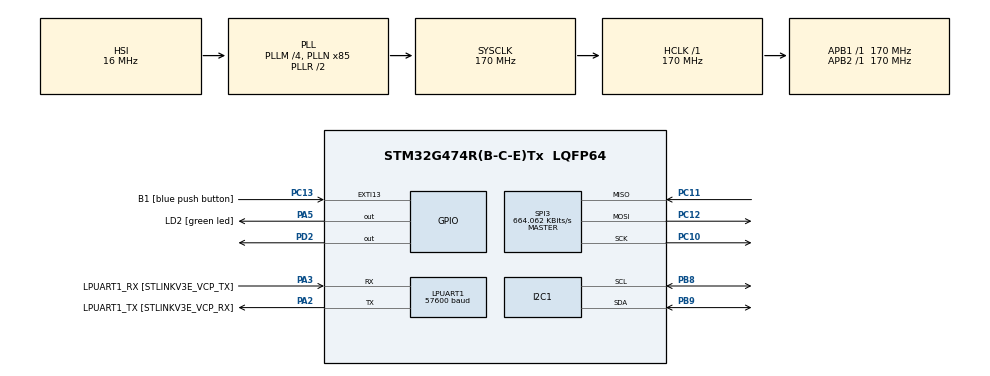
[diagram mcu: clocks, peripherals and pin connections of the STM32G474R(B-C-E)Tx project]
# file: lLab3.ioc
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Dma.I2C1_RX.2.Direction=DMA_PERIPH_TO_MEMORY
Dma.I2C1_RX.2.EventEnable=DISABLE
Dma.I2C1_RX.2.Instance=DMA1_Channel3
Dma.I2C1_RX.2.MemDataAlignment=DMA_MDATAALIGN_BYTE
Dma.I2C1_RX.2.MemInc=DMA_MINC_ENABLE
Dma.I2C1_RX.2.Mode=DMA_NORMAL
Dma.I2C1_RX.2.PeriphDataAlignment=DMA_PDATAALIGN_BYTE
Dma.I2C1_RX.2.PeriphInc=DMA_PINC_DISABLE
Dma.I2C1_RX.2.Polarity=HAL_DMAMUX_REQ_GEN_RISING
Dma.I2C1_RX.2.Priority=DMA_PRIORITY_LOW
Dma.I2C1_RX.2.RequestNumber=1
Dma.I2C1_RX.2.SignalID=NONE
Dma.I2C1_RX.2.SyncEnable=DISABLE
Dma.I2C1_RX.2.SyncPolarity=HAL_DMAMUX_SYNC_NO_EVENT
Dma.I2C1_RX.2.SyncRequestNumber=1
Dma.I2C1_RX.2.SyncSignalID=NONE
Dma.I2C1_TX.3.Direction=DMA_MEMORY_TO_PERIPH
Dma.I2C1_TX.3.EventEnable=DISABLE
Dma.I2C1_TX.3.Instance=DMA1_Channel4
Dma.I2C1_TX.3.MemDataAlignment=DMA_MDATAALIGN_BYTE
Dma.I2C1_TX.3.MemInc=DMA_MINC_ENABLE
Dma.I2C1_TX.3.Mode=DMA_NORMAL
Dma.I2C1_TX.3.PeriphDataAlignment=DMA_PDATAALIGN_BYTE
Dma.I2C1_TX.3.PeriphInc=DMA_PINC_DISABLE
Dma.I2C1_TX.3.Polarity=HAL_DMAMUX_REQ_GEN_RISING
Dma.I2C1_TX.3.Priority=DMA_PRIORITY_LOW
Dma.I2C1_TX.3.RequestNumber=1
Dma.I2C1_TX.3.SignalID=NONE
Dma.I2C1_TX.3.SyncEnable=DISABLE
Dma.I2C1_TX.3.SyncPolarity=HAL_DMAMUX_SYNC_NO_EVENT
Dma.I2C1_TX.3.SyncRequestNumber=1
Dma.I2C1_TX.3.SyncSignalID=NONE
Dma.LPUART1_RX.0.Direction=DMA_PERIPH_TO_MEMORY
Dma.LPUART1_RX.0.EventEnable=DISABLE
Dma.LPUART1_RX.0.Instance=DMA1_Channel1
Dma.LPUART1_RX.0.MemDataAlignment=DMA_MDATAALIGN_BYTE
Dma.LPUART1_RX.0.MemInc=DMA_MINC_ENABLE
Dma.LPUART1_RX.0.Mode=DMA_CIRCULAR
Dma.LPUART1_RX.0.PeriphDataAlignment=DMA_PDATAALIGN_BYTE
Dma.LPUART1_RX.0.PeriphInc=DMA_PINC_DISABLE
Dma.LPUART1_RX.0.Polarity=HAL_DMAMUX_REQ_GEN_RISING
Dma.LPUART1_RX.0.Priority=DMA_PRIORITY_LOW
Dma.LPUART1_RX.0.RequestNumber=1
Dma.LPUART1_RX.0.SignalID=NONE
Dma.LPUART1_RX.0.SyncEnable=DISABLE
Dma.LPUART1_RX.0.SyncPolarity=HAL_DMAMUX_SYNC_NO_EVENT
Dma.LPUART1_RX.0.SyncRequestNumber=1
Dma.LPUART1_RX.0.SyncSignalID=NONE
Dma.LPUART1_TX.1.Direction=DMA_MEMORY_TO_PERIPH
Dma.LPUART1_TX.1.EventEnable=DISABLE
Dma.LPUART1_TX.1.Instance=DMA1_Channel2
Dma.LPUART1_TX.1.MemDataAlignment=DMA_MDATAALIGN_BYTE
Dma.LPUART1_TX.1.MemInc=DMA_MINC_ENABLE
Dma.LPUART1_TX.1.Mode=DMA_NORMAL
Dma.LPUART1_TX.1.PeriphDataAlignment=DMA_PDATAALIGN_BYTE
Dma.LPUART1_TX.1.PeriphInc=DMA_PINC_DISABLE
Dma.LPUART1_TX.1.Polarity=HAL_DMAMUX_REQ_GEN_RISING
Dma.LPUART1_TX.1.Priority=DMA_PRIORITY_LOW
Dma.LPUART1_TX.1.RequestNumber=1
Dma.LPUART1_TX.1.SignalID=NONE
Dma.LPUART1_TX.1.SyncEnable=DISABLE
Dma.LPUART1_TX.1.SyncPolarity=HAL_DMAMUX_SYNC_NO_EVENT
Dma.LPUART1_TX.1.SyncRequestNumber=1
Dma.LPUART1_TX.1.SyncSignalID=NONE
Dma.Request0=LPUART1_RX
Dma.Request1=LPUART1_TX
Dma.Request2=I2C1_RX
Dma.Request3=I2C1_TX
I2C1.Timing=0x30A0A7FB
LPUART1.BaudRate=57600
LPUART1.Parity=UART_PARITY_EVEN
LPUART1.WordLength=UART_WORDLENGTH_9B
Mcu.Family=STM32G4
Mcu.Name=STM32G474R(B-C-E)Tx
Mcu.Package=LQFP64
NVIC.DMA1_Channel1_IRQn=true\:0\:0\:false\:false\:true\:false\:true\:true
NVIC.DMA1_Channel2_IRQn=true\:0\:0\:false\:false\:true\:false\:true\:true
NVIC.DMA1_Channel3_IRQn=true\:0\:0\:false\:false\:true\:false\:true\:true
NVIC.DMA1_Channel4_IRQn=true\:0\:0\:false\:false\:true\:false\:true\:true
NVIC.EXTI15_10_IRQn=true\:0\:0\:false\:false\:true\:true\:true\:true
NVIC.I2C1_ER_IRQn=true\:0\:0\:false\:false\:true\:true\:true\:true
NVIC.I2C1_EV_IRQn=true\:0\:0\:false\:false\:true\:true\:true\:true
NVIC.LPUART1_IRQn=true\:0\:0\:false\:false\:true\:true\:true\:true
NVIC.PriorityGroup=NVIC_PRIORITYGROUP_4
NVIC.SPI3_IRQn=true\:0\:0\:false\:false\:true\:true\:true\:true
PA13.GPIO_Label=T_SWDIO
PA13.Mode=Serial_Wire
PA13.Signal=SYS_JTMS-SWDIO
PA14.GPIO_Label=T_SWCLK
PA14.Mode=Serial_Wire
PA14.Signal=SYS_JTCK-SWCLK
PA2.GPIO_Label=LPUART1_TX [STLINKV3E_VCP_RX]
PA2.Mode=Asynchronous
PA2.Signal=LPUART1_TX
PA3.GPIO_Label=LPUART1_RX [STLINKV3E_VCP_TX]
PA3.Mode=Asynchronous
PA3.Signal=LPUART1_RX
PA5.GPIO_Label=LD2 [green led]
PA5.Signal=GPIO_Output
PB3.GPIO_Label=T_SWO
PB3.Signal=SYS_JTDO-SWO
PB8-BOOT0.Mode=I2C
PB8-BOOT0.Signal=I2C1_SCL
PB9.Mode=I2C
PB9.Signal=I2C1_SDA
PC10.Mode=Full_Duplex_Master
PC10.Signal=SPI3_SCK
PC11.Mode=Full_Duplex_Master
PC11.Signal=SPI3_MISO
PC12.Mode=Full_Duplex_Master
PC12.Signal=SPI3_MOSI
PC13.GPIO_Label=B1 [blue push button]
PC13.Signal=GPXTI13
PC14-OSC32_IN.Mode=LSE-External-Oscillator
PC14-OSC32_IN.Signal=RCC_OSC32_IN
PC15-OSC32_OUT.Mode=LSE-External-Oscillator
PC15-OSC32_OUT.Signal=RCC_OSC32_OUT
PD2.PinState=GPIO_PIN_SET
PD2.Signal=GPIO_Output
PF0-OSC_IN.Mode=HSE-External-Oscillator
PF0-OSC_IN.Signal=RCC_OSC_IN
PF1-OSC_OUT.Mode=HSE-External-Oscillator
PF1-OSC_OUT.Signal=RCC_OSC_OUT
ProjectManager.HeapSize=0x200
ProjectManager.StackSize=0x400
ProjectManager.TargetToolchain=STM32CubeIDE
RCC.ADC12Freq_Value=170000000
RCC.ADC345Freq_Value=170000000
RCC.AHBFreq_Value=170000000
RCC.APB1Freq_Value=170000000
RCC.APB1TimFreq_Value=170000000
RCC.APB2Freq_Value=170000000
RCC.APB2TimFreq_Value=170000000
RCC.CortexFreq_Value=170000000
RCC.EXTERNAL_CLOCK_VALUE=12288000
RCC.HCLKFreq_Value=170000000
RCC.HSE_VALUE=24000000
RCC.HSI48_VALUE=48000000
RCC.HSI_VALUE=16000000
RCC.PLLM=RCC_PLLM_DIV4
RCC.PLLN=85
RCC.RTCClockSelection=RCC_RTCCLKSOURCE_LSE
RCC.SYSCLKFreq_VALUE=170000000
RCC.SYSCLKSource=RCC_SYSCLKSOURCE_PLLCLK
RCC.USBFreq_Value=170000000
RCC.VCOOutputFreq_Value=340000000
SPI3.BaudRatePrescaler=SPI_BAUDRATEPRESCALER_256
SPI3.CalculateBaudRate=664.062 KBits/s
SPI3.DataSize=SPI_DATASIZE_8BIT
SPI3.Direction=SPI_DIRECTION_2LINES
SPI3.Mode=SPI_MODE_MASTER
SPI3.VirtualType=VM_MASTER
VP_SYS_VS_DBSignals.Mode=DisableDeadBatterySignals
board=NUCLEO-G474RE

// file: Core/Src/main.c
/* USER CODE BEGIN Header */
/**
  ******************************************************************************
  * @file           : main.c
  * @brief          : Main program body
  ******************************************************************************
  * @attention
  *
  * Copyright (c) 2025 STMicroelectronics.
  * All rights reserved.
  *
  * This software is licensed under terms that can be found in the LICENSE file
  * in the root directory of this software component.
  * If no LICENSE file comes with this software, it is provided AS-IS.
  *
  ******************************************************************************
  */
/* USER CODE END Header */
#include "main.h"

/* USER CODE BEGIN Includes */
#include "stdio.h"
#include "string.h"
#include <stdbool.h>
/* USER CODE END Includes */

/* USER CODE BEGIN PD */
#define EEPROM_ADDR 0b10100000
/* USER CODE END PD */

I2C_HandleTypeDef hi2c1;
DMA_HandleTypeDef hdma_i2c1_rx;
DMA_HandleTypeDef hdma_i2c1_tx;

UART_HandleTypeDef hlpuart1;
DMA_HandleTypeDef hdma_lpuart1_rx;
DMA_HandleTypeDef hdma_lpuart1_tx;

SPI_HandleTypeDef hspi3;

/* USER CODE BEGIN PV */
uint8_t RxBuffer[50];
uint8_t TxBuffer[50];
uint8_t score = 0;
uint8_t eepromData[1];
uint8_t SPIRx[10];
uint8_t SPITx[10];
uint8_t state = 0;
uint32_t startTime = 0;
uint8_t LED;
/* USER CODE END PV */

void SystemClock_Config(void);
static void MX_GPIO_Init(void);
static void MX_DMA_Init(void);
static void MX_LPUART1_UART_Init(void);
static void MX_I2C1_Init(void);
static void MX_SPI3_Init(void);
/* USER CODE BEGIN PFP */
void UARTConfig();
void WriteScore(uint8_t scorevalue);
uint8_t ReadScore();
void TurnOnLED();
void TurnOffLED();
void LightRandomLED();
bool CheckButtonPress();
/* USER CODE END PFP */

int main(void)
{

  /* MCU Configuration--------------------------------------------------------*/

  /* Reset of all peripherals, Initializes the Flash interface and the Systick. */
  HAL_Init();

  /* Configure the system clock */
  SystemClock_Config();

  /* Initialize all configured peripherals */
  MX_GPIO_Init();
  MX_DMA_Init();
  MX_LPUART1_UART_Init();
  MX_I2C1_Init();
  MX_SPI3_Init();
  /* USER CODE BEGIN 2 */
  uint8_t text[] = "Catch the Light!\r\nPress Button to Start\r\n\0";
  HAL_UART_Transmit(&hlpuart1, text, strlen(text), 10);
  UARTConfig();
  SPITxRx_Setup();
  /* USER CODE END 2 */

  /* Infinite loop */
  while (1)
  {

    /* USER CODE BEGIN 3 */
	  switch(state){
	  case 0:
		  if(HAL_GPIO_ReadPin(B1_GPIO_Port, B1_Pin)){
			  TurnOnLED();
			  uint8_t starttext[] = "Game Started\r\n";
			  HAL_UART_Transmit(&hlpuart1, starttext, strlen(starttext), 10);
			  state = 1;
		  }
			  break;
		  case 1:
			  TurnOffLED();
			  startTime = HAL_GetTick();
			  score = 0;
			  LightRandomLED();
			  state = 2;
			  break;
		  case 2:
			  if ((HAL_GetTick()-startTime) >= 90000){
				  TurnOffLED();
				  WriteScore(score);
				  uint8_t endtext[] = "Game Finished\r\n";
				  HAL_UART_Transmit(&hlpuart1, endtext, strlen(endtext), 10);
				  sprintf((char*)TxBuffer,"Score : %d\r\n",score);
				  HAL_UART_Transmit_DMA(&hlpuart1, TxBuffer, strlen((char*)TxBuffer));
				  state = 0;
			  }
			  else
			  {
				  bool pressed = CheckButtonPress();
				  if(pressed){
					  score++;
					  TurnOffLED();
					  LightRandomLED();
				  }
			  }
			  break;
	  }
  }
  /* USER CODE END 3 */
}

void SystemClock_Config(void)
{
  RCC_OscInitTypeDef RCC_OscInitStruct = {0};
  RCC_ClkInitTypeDef RCC_ClkInitStruct = {0};

  /** Configure the main internal regulator output voltage
  */
  HAL_PWREx_ControlVoltageScaling(PWR_REGULATOR_VOLTAGE_SCALE1_BOOST);

  /** Initializes the RCC Oscillators according to the specified parameters
  * in the RCC_OscInitTypeDef structure.
  */
  RCC_OscInitStruct.OscillatorType = RCC_OSCILLATORTYPE_HSI;
  RCC_OscInitStruct.HSIState = RCC_HSI_ON;
  RCC_OscInitStruct.HSICalibrationValue = RCC_HSICALIBRATION_DEFAULT;
  RCC_OscInitStruct.PLL.PLLState = RCC_PLL_ON;
  RCC_OscInitStruct.PLL.PLLSource = RCC_PLLSOURCE_HSI;
  RCC_OscInitStruct.PLL.PLLM = RCC_PLLM_DIV4;
  RCC_OscInitStruct.PLL.PLLN = 85;
  RCC_OscInitStruct.PLL.PLLP = RCC_PLLP_DIV2;
  RCC_OscInitStruct.PLL.PLLQ = RCC_PLLQ_DIV2;
  RCC_OscInitStruct.PLL.PLLR = RCC_PLLR_DIV2;
  if (HAL_RCC_OscConfig(&RCC_OscInitStruct) != HAL_OK)
  {
    Error_Handler();
  }

  /** Initializes the CPU, AHB and APB buses clocks
  */
  RCC_ClkInitStruct.ClockType = RCC_CLOCKTYPE_HCLK|RCC_CLOCKTYPE_SYSCLK
                              |RCC_CLOCKTYPE_PCLK1|RCC_CLOCKTYPE_PCLK2;
  RCC_ClkInitStruct.SYSCLKSource = RCC_SYSCLKSOURCE_PLLCLK;
  RCC_ClkInitStruct.AHBCLKDivider = RCC_SYSCLK_DIV1;
  RCC_ClkInitStruct.APB1CLKDivider = RCC_HCLK_DIV1;
  RCC_ClkInitStruct.APB2CLKDivider = RCC_HCLK_DIV1;

  if (HAL_RCC_ClockConfig(&RCC_ClkInitStruct, FLASH_LATENCY_4) != HAL_OK)
  {
    Error_Handler();
  }
}

static void MX_I2C1_Init(void)
{

  hi2c1.Instance = I2C1;
  hi2c1.Init.Timing = 0x30A0A7FB;
  hi2c1.Init.OwnAddress1 = 0;
  hi2c1.Init.AddressingMode = I2C_ADDRESSINGMODE_7BIT;
  hi2c1.Init.DualAddressMode = I2C_DUALADDRESS_DISABLE;
  hi2c1.Init.OwnAddress2 = 0;
  hi2c1.Init.OwnAddress2Masks = I2C_OA2_NOMASK;
  hi2c1.Init.GeneralCallMode = I2C_GENERALCALL_DISABLE;
  hi2c1.Init.NoStretchMode = I2C_NOSTRETCH_DISABLE;
  if (HAL_I2C_Init(&hi2c1) != HAL_OK)
  {
    Error_Handler();
  }

  /** Configure Analogue filter
  */
  if (HAL_I2CEx_ConfigAnalogFilter(&hi2c1, I2C_ANALOGFILTER_ENABLE) != HAL_OK)
  {
    Error_Handler();
  }

  /** Configure Digital filter
  */
  if (HAL_I2CEx_ConfigDigitalFilter(&hi2c1, 0) != HAL_OK)
  {
    Error_Handler();
  }

}

static void MX_LPUART1_UART_Init(void)
{

  hlpuart1.Instance = LPUART1;
  hlpuart1.Init.BaudRate = 57600;
  hlpuart1.Init.WordLength = UART_WORDLENGTH_9B;
  hlpuart1.Init.StopBits = UART_STOPBITS_1;
  hlpuart1.Init.Parity = UART_PARITY_EVEN;
  hlpuart1.Init.Mode = UART_MODE_TX_RX;
  hlpuart1.Init.HwFlowCtl = UART_HWCONTROL_NONE;
  hlpuart1.Init.OneBitSampling = UART_ONE_BIT_SAMPLE_DISABLE;
  hlpuart1.Init.ClockPrescaler = UART_PRESCALER_DIV1;
  hlpuart1.AdvancedInit.AdvFeatureInit = UART_ADVFEATURE_NO_INIT;
  if (HAL_UART_Init(&hlpuart1) != HAL_OK)
  {
    Error_Handler();
  }
  if (HAL_UARTEx_SetTxFifoThreshold(&hlpuart1, UART_TXFIFO_THRESHOLD_1_8) != HAL_OK)
  {
    Error_Handler();
  }
  if (HAL_UARTEx_SetRxFifoThreshold(&hlpuart1, UART_RXFIFO_THRESHOLD_1_8) != HAL_OK)
  {
    Error_Handler();
  }
  if (HAL_UARTEx_DisableFifoMode(&hlpuart1) != HAL_OK)
  {
    Error_Handler();
  }

}

static void MX_SPI3_Init(void)
{

  /* SPI3 parameter configuration*/
  hspi3.Instance = SPI3;
  hspi3.Init.Mode = SPI_MODE_MASTER;
  hspi3.Init.Direction = SPI_DIRECTION_2LINES;
  hspi3.Init.DataSize = SPI_DATASIZE_8BIT;
  hspi3.Init.CLKPolarity = SPI_POLARITY_LOW;
  hspi3.Init.CLKPhase = SPI_PHASE_1EDGE;
  hspi3.Init.NSS = SPI_NSS_SOFT;
  hspi3.Init.BaudRatePrescaler = SPI_BAUDRATEPRESCALER_256;
  hspi3.Init.FirstBit = SPI_FIRSTBIT_MSB;
  hspi3.Init.TIMode = SPI_TIMODE_DISABLE;
  hspi3.Init.CRCCalculation = SPI_CRCCALCULATION_DISABLE;
  hspi3.Init.CRCPolynomial = 7;
  hspi3.Init.CRCLength = SPI_CRC_LENGTH_DATASIZE;
  hspi3.Init.NSSPMode = SPI_NSS_PULSE_ENABLE;
  if (HAL_SPI_Init(&hspi3) != HAL_OK)
  {
    Error_Handler();
  }

}

static void MX_DMA_Init(void)
{

  /* DMA controller clock enable */
  __HAL_RCC_DMAMUX1_CLK_ENABLE();
  __HAL_RCC_DMA1_CLK_ENABLE();

  /* DMA interrupt init */
  /* DMA1_Channel1_IRQn interrupt configuration */
  HAL_NVIC_SetPriority(DMA1_Channel1_IRQn, 0, 0);
  HAL_NVIC_EnableIRQ(DMA1_Channel1_IRQn);
  /* DMA1_Channel2_IRQn interrupt configuration */
  HAL_NVIC_SetPriority(DMA1_Channel2_IRQn, 0, 0);
  HAL_NVIC_EnableIRQ(DMA1_Channel2_IRQn);
  /* DMA1_Channel3_IRQn interrupt configuration */
  HAL_NVIC_SetPriority(DMA1_Channel3_IRQn, 0, 0);
  HAL_NVIC_EnableIRQ(DMA1_Channel3_IRQn);
  /* DMA1_Channel4_IRQn interrupt configuration */
  HAL_NVIC_SetPriority(DMA1_Channel4_IRQn, 0, 0);
  HAL_NVIC_EnableIRQ(DMA1_Channel4_IRQn);

}

static void MX_GPIO_Init(void)
{
  GPIO_InitTypeDef GPIO_InitStruct = {0};

  /* GPIO Ports Clock Enable */
  __HAL_RCC_GPIOC_CLK_ENABLE();
  __HAL_RCC_GPIOF_CLK_ENABLE();
  __HAL_RCC_GPIOA_CLK_ENABLE();
  __HAL_RCC_GPIOD_CLK_ENABLE();
  __HAL_RCC_GPIOB_CLK_ENABLE();

  /*Configure GPIO pin Output Level */
  HAL_GPIO_WritePin(LD2_GPIO_Port, LD2_Pin, GPIO_PIN_RESET);

  /*Configure GPIO pin Output Level */
  HAL_GPIO_WritePin(GPIOD, GPIO_PIN_2, GPIO_PIN_SET);

  /*Configure GPIO pin : B1_Pin */
  GPIO_InitStruct.Pin = B1_Pin;
  GPIO_InitStruct.Mode = GPIO_MODE_IT_RISING;
  GPIO_InitStruct.Pull = GPIO_NOPULL;
  HAL_GPIO_Init(B1_GPIO_Port, &GPIO_InitStruct);

  /*Configure GPIO pin : LD2_Pin */
  GPIO_InitStruct.Pin = LD2_Pin;
  GPIO_InitStruct.Mode = GPIO_MODE_OUTPUT_PP;
  GPIO_InitStruct.Pull = GPIO_NOPULL;
  GPIO_InitStruct.Speed = GPIO_SPEED_FREQ_LOW;
  HAL_GPIO_Init(LD2_GPIO_Port, &GPIO_InitStruct);

  /*Configure GPIO pin : PD2 */
  GPIO_InitStruct.Pin = GPIO_PIN_2;
  GPIO_InitStruct.Mode = GPIO_MODE_OUTPUT_PP;
  GPIO_InitStruct.Pull = GPIO_NOPULL;
  GPIO_InitStruct.Speed = GPIO_SPEED_FREQ_LOW;
  HAL_GPIO_Init(GPIOD, &GPIO_InitStruct);

  /* EXTI interrupt init*/
  HAL_NVIC_SetPriority(EXTI15_10_IRQn, 0, 0);
  HAL_NVIC_EnableIRQ(EXTI15_10_IRQn);

}

/* USER CODE BEGIN 4 */
void UARTConfig()
{
	HAL_UART_Receive_DMA(&hlpuart1, RxBuffer, 5);
}

void HAL_UART_RxCpltCallback(UART_HandleTypeDef *huart)
{
	if(huart == &hlpuart1)
	{
		RxBuffer[5] = '\0';

		sprintf((char*)TxBuffer,"Received : %s\r\n",RxBuffer);
		HAL_UART_Transmit_DMA(&hlpuart1, TxBuffer, strlen((char*)TxBuffer));

		if (strstr((char*)RxBuffer, "score") != NULL){
			score = ReadScore();
			sprintf((char*)TxBuffer,"Score : %d\r\n",score);
			HAL_UART_Transmit_DMA(&hlpuart1, TxBuffer, strlen((char*)TxBuffer));
		}

		HAL_UART_Receive_DMA(&hlpuart1, RxBuffer, 5);
	}
}

void WriteScore(uint8_t scorevalue)
{
	if(hi2c1.State == HAL_I2C_STATE_READY){
		HAL_I2C_Mem_Write_IT(&hi2c1, EEPROM_ADDR, 0x00, I2C_MEMADD_SIZE_16BIT, &scorevalue, 1);
	}
}

uint8_t ReadScore()
{
	if(hi2c1.State == HAL_I2C_STATE_READY){
		HAL_I2C_Mem_Read_IT(&hi2c1, EEPROM_ADDR, 0x00, I2C_MEMADD_SIZE_16BIT, eepromData, 1);
	}
	return eepromData[0];
}

void SPITxRx_Setup()
{
//CS pulse
HAL_GPIO_WritePin(GPIOD, GPIO_PIN_2, 0); // CS Select
HAL_Delay(1);
HAL_GPIO_WritePin(GPIOD, GPIO_PIN_2, 1); // CS deSelect
HAL_Delay(1);
}

void HAL_SPI_TxRxCpltCallback(SPI_HandleTypeDef *hspi)
{
HAL_GPIO_WritePin(GPIOD, GPIO_PIN_2, 1); //CS deSelect
}

void TurnOnLED(){
	if(HAL_GPIO_ReadPin(GPIOD,GPIO_PIN_2)){
	HAL_GPIO_WritePin(GPIOD, GPIO_PIN_2, 0); // CS Select
	SPITx[0] = 0b01000000;
	SPITx[1] = 0x13;
	SPITx[2] = 0x0F;
	SPITx[3] = 0;
	HAL_SPI_TransmitReceive_IT(&hspi3, SPITx, SPIRx, 4);
	}
}

void TurnOffLED(){
	if(HAL_GPIO_ReadPin(GPIOD,GPIO_PIN_2)){
	HAL_GPIO_WritePin(GPIOD, GPIO_PIN_2, 0); // CS Select
	SPITx[0] = 0b01000000;
	SPITx[1] = 0x13;
	SPITx[2] = 0x00;
	SPITx[3] = 0;
	HAL_SPI_TransmitReceive_IT(&hspi3, SPITx, SPIRx, 4);
	}
}

void LightRandomLED(){
	uint8_t LEDIndex = rand()%4;
	LED = (1 << LEDIndex);
	if(HAL_GPIO_ReadPin(GPIOD,GPIO_PIN_2)){
	HAL_GPIO_WritePin(GPIOD, GPIO_PIN_2, 0); // CS Select
	SPITx[0] = 0b01000000;
	SPITx[1] = 0x13;
	SPITx[2] = LED;
	SPITx[3] = 0;
	HAL_SPI_TransmitReceive_IT(&hspi3, SPITx, SPIRx, 4);
	}
}

bool CheckButtonPress(){
	uint8_t button;
	if(HAL_GPIO_ReadPin(GPIOD,GPIO_PIN_2)){
	HAL_GPIO_WritePin(GPIOD, GPIO_PIN_2, 0); // CS Select
	SPITx[0] = 0b01000001;
	SPITx[1] = 0x12;
	SPITx[2] = 0;
	SPITx[3] = 0;
	HAL_SPI_TransmitReceive_IT(&hspi3, SPITx, SPIRx, 4);
	}
	button = SPIRx[2];
	return (button & LED)?true:false;
}
/* USER CODE END 4 */

void Error_Handler(void)
{
  __disable_irq();
  while (1)
  {
  }
}
